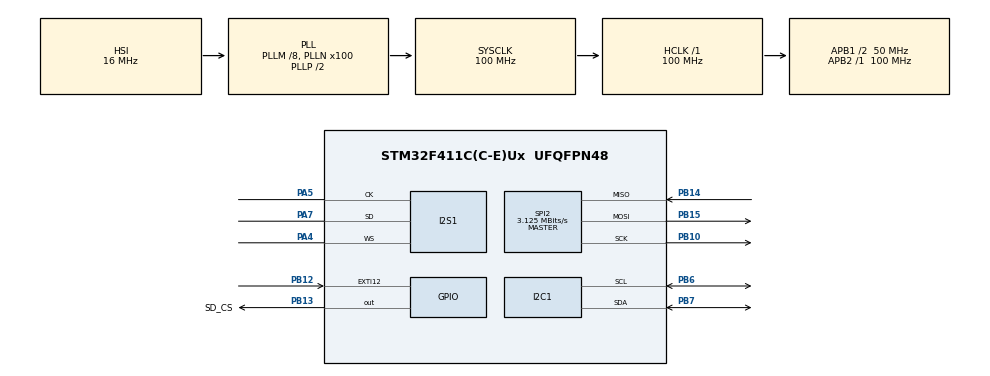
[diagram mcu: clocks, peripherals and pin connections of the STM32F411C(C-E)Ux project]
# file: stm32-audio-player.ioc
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FATFS._USE_LFN=2
FREERTOS.Tasks01=MANAGER_TASK,40,1024,MANAGER_TASK_Start,Default,NULL,Dynamic,NULL,NULL;PLAYER_TASK,8,512,PLAYER_TASK_Start,Default,NULL,Dynamic,NULL,NULL;BUTTON_TASK,24,128,BUTTON_TASK_Start,Default,NULL,Dynamic,NULL,NULL
I2S1.AudioFreq=I2S_AUDIOFREQ_44K
I2S1.ErrorAudioFreq=0.26 %
I2S1.FullDuplexMode=I2S_FULLDUPLEXMODE_DISABLE
I2S1.Instance=SPI$Index
I2S1.RealAudioFreq=44.117 KHz
I2S1.VirtualMode=I2S_MODE_MASTER
Mcu.Family=STM32F4
Mcu.Name=STM32F411C(C-E)Ux
Mcu.Package=UFQFPN48
NVIC.EXTI15_10_IRQn=true\:5\:0\:false\:false\:true\:true\:true\:true\:true
NVIC.PriorityGroup=NVIC_PRIORITYGROUP_4
PA4.Mode=Half_Duplex_Master
PA4.Signal=I2S1_WS
PA5.Mode=Half_Duplex_Master
PA5.Signal=I2S1_CK
PA7.Mode=Half_Duplex_Master
PA7.Signal=I2S1_SD
PB10.Mode=Full_Duplex_Master
PB10.Signal=SPI2_SCK
PB12.GPIO_ModeDefaultEXTI=GPIO_MODE_IT_FALLING
PB12.GPIO_PuPd=GPIO_PULLUP
PB12.Signal=GPXTI12
PB13.GPIO_Label=SD_CS
PB13.GPIO_PuPd=GPIO_PULLUP
PB13.PinState=GPIO_PIN_SET
PB13.Signal=GPIO_Output
PB14.Mode=Full_Duplex_Master
PB14.Signal=SPI2_MISO
PB15.Mode=Full_Duplex_Master
PB15.Signal=SPI2_MOSI
PB6.Mode=I2C
PB6.Signal=I2C1_SCL
PB7.Mode=I2C
PB7.Signal=I2C1_SDA
ProjectManager.HeapSize=0x200
ProjectManager.StackSize=0x400
ProjectManager.TargetToolchain=STM32CubeIDE
RCC.48MHZClocksFreq_Value=50000000
RCC.AHBFreq_Value=100000000
RCC.APB1CLKDivider=RCC_HCLK_DIV2
RCC.APB1Freq_Value=50000000
RCC.APB1TimFreq_Value=100000000
RCC.APB2Freq_Value=100000000
RCC.APB2TimFreq_Value=100000000
RCC.CortexFreq_Value=100000000
RCC.HCLKFreq_Value=100000000
RCC.HSE_VALUE=25000000
RCC.HSI_VALUE=16000000
RCC.LSE_VALUE=32768
RCC.PLLM=8
RCC.PLLN=100
RCC.SYSCLKFreq_VALUE=100000000
RCC.SYSCLKSource=RCC_SYSCLKSOURCE_PLLCLK
RCC.VCOOutputFreq_Value=200000000
SPI2.BaudRatePrescaler=SPI_BAUDRATEPRESCALER_16
SPI2.CalculateBaudRate=3.125 MBits/s
SPI2.Direction=SPI_DIRECTION_2LINES
SPI2.Mode=SPI_MODE_MASTER
SPI2.VirtualType=VM_MASTER
VP_FATFS_VS_Generic.Mode=User_defined
VP_FREERTOS_VS_CMSIS_V2.Mode=CMSIS_V2
board=custom

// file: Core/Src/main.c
/* USER CODE BEGIN Header */
/**
  ******************************************************************************
  * @file           : main.c
  * @brief          : Main program body
  ******************************************************************************
  * @attention
  *
  * Copyright (c) 2026 STMicroelectronics.
  * All rights reserved.
  *
  * This software is licensed under terms that can be found in the LICENSE file
  * in the root directory of this software component.
  * If no LICENSE file comes with this software, it is provided AS-IS.
  *
  ******************************************************************************
  */
/* USER CODE END Header */
#include "main.h"
#include "cmsis_os.h"
#include "fatfs.h"

/* USER CODE BEGIN Includes */
#include "commons.h"
#include "button_task.h"
#include "player_task.h"
#include "manager_task.h"
/* USER CODE END Includes */

I2C_HandleTypeDef hi2c1;

I2S_HandleTypeDef hi2s1;

SPI_HandleTypeDef hspi2;

/* Definitions for MANAGER_TASK */
osThreadId_t MANAGER_TASKHandle;
const osThreadAttr_t MANAGER_TASK_attributes = {
  .name = "MANAGER_TASK",
  .stack_size = 1024 * 4,
  .priority = (osPriority_t) osPriorityHigh,
};
/* Definitions for PLAYER_TASK */
osThreadId_t PLAYER_TASKHandle;
const osThreadAttr_t PLAYER_TASK_attributes = {
  .name = "PLAYER_TASK",
  .stack_size = 512 * 4,
  .priority = (osPriority_t) osPriorityLow,
};
/* Definitions for BUTTON_TASK */
osThreadId_t BUTTON_TASKHandle;
const osThreadAttr_t BUTTON_TASK_attributes = {
  .name = "BUTTON_TASK",
  .stack_size = 128 * 4,
  .priority = (osPriority_t) osPriorityNormal,
};
/* USER CODE BEGIN PV */
osSemaphoreId_t PLAYER_SEMAPHORE_ID;
osSemaphoreId_t BUTTON_SEMAPHORE_ID;
osMessageQueueId_t PLAYER_QUEUE;
osMessageQueueId_t MANAGER_QUEUE;
/* USER CODE END PV */

void SystemClock_Config(void);
static void MX_GPIO_Init(void);
static void MX_I2C1_Init(void);
static void MX_SPI2_Init(void);
static void MX_I2S1_Init(void);
void MANAGER_TASK_Start(void *argument);
void PLAYER_TASK_Start(void *argument);
void BUTTON_TASK_Start(void *argument);

int main(void)
{

  /* MCU Configuration--------------------------------------------------------*/

  /* Reset of all peripherals, Initializes the Flash interface and the Systick. */
  HAL_Init();

  /* Configure the system clock */
  SystemClock_Config();

  /* Initialize all configured peripherals */
  MX_GPIO_Init();
  MX_I2C1_Init();
  MX_FATFS_Init();
  MX_SPI2_Init();
  MX_I2S1_Init();

  /* Init scheduler */
  osKernelInitialize();

  /* USER CODE BEGIN RTOS_SEMAPHORES */
  PLAYER_SEMAPHORE_ID = osSemaphoreNew(1U, 0U, NULL);
  BUTTON_SEMAPHORE_ID = osSemaphoreNew(1U, 0U, NULL);
  /* add semaphores, ... */
  /* USER CODE END RTOS_SEMAPHORES */

  /* USER CODE BEGIN RTOS_QUEUES */
  PLAYER_QUEUE = osMessageQueueNew(1, sizeof(UAL_TRACK_MSG_t), NULL);
  MANAGER_QUEUE = osMessageQueueNew(8, sizeof(UAL_MANAGER_MSG_t), NULL);
  /* USER CODE END RTOS_QUEUES */

  /* Create the thread(s) */
  /* creation of MANAGER_TASK */
  MANAGER_TASKHandle = osThreadNew(MANAGER_TASK_Start, NULL, &MANAGER_TASK_attributes);

  /* creation of PLAYER_TASK */
  PLAYER_TASKHandle = osThreadNew(PLAYER_TASK_Start, NULL, &PLAYER_TASK_attributes);

  /* creation of BUTTON_TASK */
  BUTTON_TASKHandle = osThreadNew(BUTTON_TASK_Start, NULL, &BUTTON_TASK_attributes);

  /* Start scheduler */
  osKernelStart();

  /* We should never get here as control is now taken by the scheduler */

  /* Infinite loop */
  while (1)
  {

  }
}

void SystemClock_Config(void)
{
  RCC_OscInitTypeDef RCC_OscInitStruct = {0};
  RCC_ClkInitTypeDef RCC_ClkInitStruct = {0};

  /** Configure the main internal regulator output voltage
  */
  __HAL_RCC_PWR_CLK_ENABLE();
  __HAL_PWR_VOLTAGESCALING_CONFIG(PWR_REGULATOR_VOLTAGE_SCALE1);

  /** Initializes the RCC Oscillators according to the specified parameters
  * in the RCC_OscInitTypeDef structure.
  */
  RCC_OscInitStruct.OscillatorType = RCC_OSCILLATORTYPE_HSI;
  RCC_OscInitStruct.HSIState = RCC_HSI_ON;
  RCC_OscInitStruct.HSICalibrationValue = RCC_HSICALIBRATION_DEFAULT;
  RCC_OscInitStruct.PLL.PLLState = RCC_PLL_ON;
  RCC_OscInitStruct.PLL.PLLSource = RCC_PLLSOURCE_HSI;
  RCC_OscInitStruct.PLL.PLLM = 8;
  RCC_OscInitStruct.PLL.PLLN = 100;
  RCC_OscInitStruct.PLL.PLLP = RCC_PLLP_DIV2;
  RCC_OscInitStruct.PLL.PLLQ = 4;
  if (HAL_RCC_OscConfig(&RCC_OscInitStruct) != HAL_OK)
  {
    Error_Handler();
  }

  /** Initializes the CPU, AHB and APB buses clocks
  */
  RCC_ClkInitStruct.ClockType = RCC_CLOCKTYPE_HCLK|RCC_CLOCKTYPE_SYSCLK
                              |RCC_CLOCKTYPE_PCLK1|RCC_CLOCKTYPE_PCLK2;
  RCC_ClkInitStruct.SYSCLKSource = RCC_SYSCLKSOURCE_PLLCLK;
  RCC_ClkInitStruct.AHBCLKDivider = RCC_SYSCLK_DIV1;
  RCC_ClkInitStruct.APB1CLKDivider = RCC_HCLK_DIV2;
  RCC_ClkInitStruct.APB2CLKDivider = RCC_HCLK_DIV1;

  if (HAL_RCC_ClockConfig(&RCC_ClkInitStruct, FLASH_LATENCY_3) != HAL_OK)
  {
    Error_Handler();
  }
}

static void MX_I2C1_Init(void)
{

  hi2c1.Instance = I2C1;
  hi2c1.Init.ClockSpeed = 100000;
  hi2c1.Init.DutyCycle = I2C_DUTYCYCLE_2;
  hi2c1.Init.OwnAddress1 = 0;
  hi2c1.Init.AddressingMode = I2C_ADDRESSINGMODE_7BIT;
  hi2c1.Init.DualAddressMode = I2C_DUALADDRESS_DISABLE;
  hi2c1.Init.OwnAddress2 = 0;
  hi2c1.Init.GeneralCallMode = I2C_GENERALCALL_DISABLE;
  hi2c1.Init.NoStretchMode = I2C_NOSTRETCH_DISABLE;
  if (HAL_I2C_Init(&hi2c1) != HAL_OK)
  {
    Error_Handler();
  }

}

static void MX_I2S1_Init(void)
{

  hi2s1.Instance = SPI1;
  hi2s1.Init.Mode = I2S_MODE_MASTER_TX;
  hi2s1.Init.Standard = I2S_STANDARD_PHILIPS;
  hi2s1.Init.DataFormat = I2S_DATAFORMAT_16B;
  hi2s1.Init.MCLKOutput = I2S_MCLKOUTPUT_DISABLE;
  hi2s1.Init.AudioFreq = I2S_AUDIOFREQ_44K;
  hi2s1.Init.CPOL = I2S_CPOL_LOW;
  hi2s1.Init.ClockSource = I2S_CLOCK_PLL;
  hi2s1.Init.FullDuplexMode = I2S_FULLDUPLEXMODE_DISABLE;
  if (HAL_I2S_Init(&hi2s1) != HAL_OK)
  {
    Error_Handler();
  }

}

static void MX_SPI2_Init(void)
{

  /* SPI2 parameter configuration*/
  hspi2.Instance = SPI2;
  hspi2.Init.Mode = SPI_MODE_MASTER;
  hspi2.Init.Direction = SPI_DIRECTION_2LINES;
  hspi2.Init.DataSize = SPI_DATASIZE_8BIT;
  hspi2.Init.CLKPolarity = SPI_POLARITY_LOW;
  hspi2.Init.CLKPhase = SPI_PHASE_1EDGE;
  hspi2.Init.NSS = SPI_NSS_SOFT;
  hspi2.Init.BaudRatePrescaler = SPI_BAUDRATEPRESCALER_16;
  hspi2.Init.FirstBit = SPI_FIRSTBIT_MSB;
  hspi2.Init.TIMode = SPI_TIMODE_DISABLE;
  hspi2.Init.CRCCalculation = SPI_CRCCALCULATION_DISABLE;
  hspi2.Init.CRCPolynomial = 10;
  if (HAL_SPI_Init(&hspi2) != HAL_OK)
  {
    Error_Handler();
  }

}

static void MX_GPIO_Init(void)
{
  GPIO_InitTypeDef GPIO_InitStruct = {0};

  /* GPIO Ports Clock Enable */
  __HAL_RCC_GPIOA_CLK_ENABLE();
  __HAL_RCC_GPIOB_CLK_ENABLE();

  /*Configure GPIO pin Output Level */
  HAL_GPIO_WritePin(SD_CS_GPIO_Port, SD_CS_Pin, GPIO_PIN_SET);

  /*Configure GPIO pin : PB12 */
  GPIO_InitStruct.Pin = GPIO_PIN_12;
  GPIO_InitStruct.Mode = GPIO_MODE_IT_FALLING;
  GPIO_InitStruct.Pull = GPIO_PULLUP;
  HAL_GPIO_Init(GPIOB, &GPIO_InitStruct);

  /*Configure GPIO pin : SD_CS_Pin */
  GPIO_InitStruct.Pin = SD_CS_Pin;
  GPIO_InitStruct.Mode = GPIO_MODE_OUTPUT_PP;
  GPIO_InitStruct.Pull = GPIO_PULLUP;
  GPIO_InitStruct.Speed = GPIO_SPEED_FREQ_LOW;
  HAL_GPIO_Init(SD_CS_GPIO_Port, &GPIO_InitStruct);

  /* EXTI interrupt init*/
  HAL_NVIC_SetPriority(EXTI15_10_IRQn, 5, 0);
  HAL_NVIC_EnableIRQ(EXTI15_10_IRQn);

}

void MANAGER_TASK_Start(void *argument)
{
  /* USER CODE BEGIN 5 */
  /* Infinite loop */
  UAL_MANAGER_TASK_Start(argument);
  /* USER CODE END 5 */
}

void PLAYER_TASK_Start(void *argument)
{
  /* USER CODE BEGIN PLAYER_TASK_Start */
  /* Infinite loop */
  UAL_PLAYER_TASK_Start(argument);
  /* USER CODE END PLAYER_TASK_Start */
}

void BUTTON_TASK_Start(void *argument)
{
  /* USER CODE BEGIN BUTTON_TASK_Start */
  /* Infinite loop */
  UAL_BUTTON_TASK_Start(argument);
  /* USER CODE END BUTTON_TASK_Start */
}

void Error_Handler(void)
{
  __disable_irq();
  while (1)
  {
  }
}
